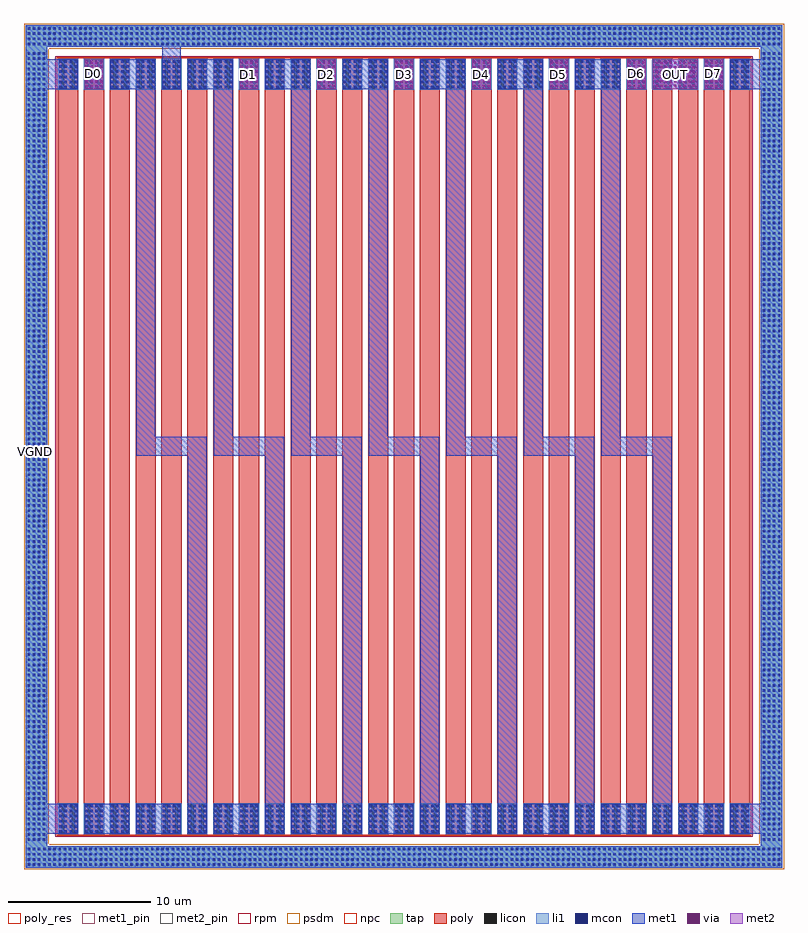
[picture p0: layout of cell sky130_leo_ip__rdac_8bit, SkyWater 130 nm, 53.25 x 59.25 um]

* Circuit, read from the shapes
.subckt sky130_leo_ip__rdac_8bit D0 D1 D2 D3 D4 D5 D6 D7 OUT VGND
XR1 VGND VGND VGND sky130_fd_pr__res_high_po w=1.41 l=50 m=2
XR2 D0 n1 VGND sky130_fd_pr__res_high_po w=1.41 l=50
XR3 n2 n1 VGND sky130_fd_pr__res_high_po w=1.41 l=50
XR4 n2 n3 VGND sky130_fd_pr__res_high_po w=1.41 l=50
XR5 VGND n3 VGND sky130_fd_pr__res_high_po w=1.41 l=50
XR6 n4 n2 VGND sky130_fd_pr__res_high_po w=1.41 l=50
XR7 n4 n5 VGND sky130_fd_pr__res_high_po w=1.41 l=50
XR8 D1 n5 VGND sky130_fd_pr__res_high_po w=1.41 l=50
XR9 n6 n4 VGND sky130_fd_pr__res_high_po w=1.41 l=50
XR10 n6 n7 VGND sky130_fd_pr__res_high_po w=1.41 l=50
XR11 D2 n7 VGND sky130_fd_pr__res_high_po w=1.41 l=50
XR12 n8 n6 VGND sky130_fd_pr__res_high_po w=1.41 l=50
XR13 n8 n9 VGND sky130_fd_pr__res_high_po w=1.41 l=50
XR14 D3 n9 VGND sky130_fd_pr__res_high_po w=1.41 l=50
XR15 n10 n8 VGND sky130_fd_pr__res_high_po w=1.41 l=50
XR16 n10 n11 VGND sky130_fd_pr__res_high_po w=1.41 l=50
XR17 D4 n11 VGND sky130_fd_pr__res_high_po w=1.41 l=50
XR18 n12 n10 VGND sky130_fd_pr__res_high_po w=1.41 l=50
XR19 n12 n13 VGND sky130_fd_pr__res_high_po w=1.41 l=50
XR20 D5 n13 VGND sky130_fd_pr__res_high_po w=1.41 l=50
XR21 n14 n12 VGND sky130_fd_pr__res_high_po w=1.41 l=50
XR22 n14 n15 VGND sky130_fd_pr__res_high_po w=1.41 l=50
XR23 D6 n15 VGND sky130_fd_pr__res_high_po w=1.41 l=50
XR24 OUT n14 VGND sky130_fd_pr__res_high_po w=1.41 l=50
XR25 OUT n16 VGND sky130_fd_pr__res_high_po w=1.41 l=50
XR26 D7 n16 VGND sky130_fd_pr__res_high_po w=1.41 l=50
.ends

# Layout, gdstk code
import gdstk
lib = gdstk.Library(unit=1e-6, precision=1e-09)
def R(c, l, rs):  # rectangles x0, y0, x1, y1
    for r in rs: c.add(gdstk.rectangle(r[:2], r[2:], *l))
def A(c, l, x, y, w, h, nx, ny, dx, dy):  # array of equal rectangles
    R(c, l, [(x+i*dx, y+j*dy, x+i*dx+w, y+j*dy+h) for i in range(nx) for j in range(ny)])
def P(c, l, *ps):  # polygons
    for p in ps: c.add(gdstk.Polygon(p, *l))
tap = (65, 44)
poly_res = (66, 13)
poly = (66, 20)
licon = (66, 44)
li1 = (67, 20)
mcon = (67, 44)
met1_pin = (68, 16)
met1 = (68, 20)
via = (68, 44)
met2_pin = (69, 16)
met2 = (69, 20)
rpm = (86, 20)
psdm = (94, 20)
npc = (95, 20)

res_poly = lib.new_cell('res_poly')
R(res_poly, poly_res, [(-0.705,-25.06,0.705,25.06)])
R(res_poly, poly, [(-0.705,-27.16,0.705,27.16)])
R(res_poly, licon, [(-0.45,-27.08,-0.26,-25.08), (0.26,-27.08,0.45,-25.08), (-0.45,25.08,-0.26,27.08), (0.26,25.08,0.45,27.08)])
R(res_poly, li1, [(-0.705,-27.16,0.705,-25), (-0.705,25,0.705,27.16)])
A(res_poly, mcon, -0.625, -27.06, 0.17, 0.17, 4, 6, 0.36, 0.36)
A(res_poly, mcon, -0.625, 25.095, 0.17, 0.17, 4, 6, 0.36, 0.36)
R(res_poly, met1, [(-0.655,-27.13,0.655,-25.025), (-0.655,25.025,0.655,27.13)])
R(res_poly, rpm, [(-0.905,-27.36,0.905,27.36)])
R(res_poly, psdm, [(-0.815,-27.27,0.815,27.27)])
R(res_poly, npc, [(-0.8,-27.255,0.8,27.255)])

guard_ring_gen = lib.new_cell('guard_ring_gen')
P(guard_ring_gen, tap, [(-1.5,-1.5),(-1.5,56),(0,56),(0,0),(50,0),(50,56),(-1.5,56),(-1.5,57.5),(51.5,57.5),(51.5,-1.5)])
A(guard_ring_gen, licon, -1.365, -1.375, 0.17, 0.17, 147, 4, 0.36, 0.36)
A(guard_ring_gen, licon, -1.375, 0.375, 0.17, 0.17, 4, 154, 0.36, 0.36)
A(guard_ring_gen, licon, 50.125, 0.375, 0.17, 0.17, 4, 154, 0.36, 0.36)
A(guard_ring_gen, licon, -1.365, 56.125, 0.17, 0.17, 147, 4, 0.36, 0.36)
P(guard_ring_gen, li1, [(-1.5,-1.5),(-1.5,56),(0,56),(0,0),(50,0),(50,56),(-1.5,56),(-1.5,57.5),(51.5,57.5),(51.5,-1.5)])
A(guard_ring_gen, mcon, -1.365, -1.375, 0.17, 0.17, 147, 4, 0.36, 0.36)
A(guard_ring_gen, mcon, -1.375, 0.375, 0.17, 0.17, 4, 154, 0.36, 0.36)
A(guard_ring_gen, mcon, 50.125, 0.375, 0.17, 0.17, 4, 154, 0.36, 0.36)
A(guard_ring_gen, mcon, -1.365, 56.125, 0.17, 0.17, 147, 4, 0.36, 0.36)
P(guard_ring_gen, met1, [(-1.5,-1.5),(-1.5,56),(0,56),(0,0),(50,0),(50,56),(-1.5,56),(-1.5,57.5),(51.5,57.5),(51.5,-1.5)])
P(guard_ring_gen, psdm, [(-1.625,-1.625),(-1.625,55.875),(0.125,55.875),(0.125,0.125),(49.875,0.125),(49.875,55.875),(-1.625,55.875),(-1.625,57.625),(51.625,57.625),(51.625,-1.625)])

vias_gen_1 = lib.new_cell('vias_gen$1')
R(vias_gen_1, met1, [(0,0,1.31,2.105)])
A(vias_gen_1, via, 0.1, 0.18, 0.15, 0.15, 4, 6, 0.32, 0.32)
R(vias_gen_1, met2, [(0,0,1.31,2.105)])

vias_gen = lib.new_cell('vias_gen')
R(vias_gen, met1, [(0,0,3.12,2.105)])
A(vias_gen, via, 0.205, 0.18, 0.15, 0.15, 9, 6, 0.32, 0.32)
R(vias_gen, met2, [(0,0,3.12,2.105)])

sky130_leo_ip__rdac_8bit = lib.new_cell('sky130_leo_ip__rdac_8bit')
R(sky130_leo_ip__rdac_8bit, met1_pin, [(0.125,0.125,53.125,1.625), (0.125,1.625,1.625,57.625), (51.625,1.625,53.125,57.625), (0.125,57.625,53.125,59.125)])
A(sky130_leo_ip__rdac_8bit, met1, 7.87, 2.495, 3.12, 2.105, 8, 1, 5.43, 0)
A(sky130_leo_ip__rdac_8bit, met1, 11.49, 4.6, 1.31, 24.895, 7, 1, 5.43, 0)
A(sky130_leo_ip__rdac_8bit, met1, 7.865, 28.965, 4.935, 1.345, 7, 1, 5.43, 0)
A(sky130_leo_ip__rdac_8bit, met1, 7.87, 29.755, 1.31, 24.895, 7, 1, 5.43, 0)
A(sky130_leo_ip__rdac_8bit, met1, 6.06, 54.65, 3.12, 2.105, 8, 1, 5.43, 0)
R(sky130_leo_ip__rdac_8bit, met1, [(0.625,2.495,2.44,4.6), (4.25,2.495,7.37,4.6), (50.81,2.495,52.625,4.6), (0.625,54.65,2.44,56.755), (50.81,54.65,52.625,56.755), (9.68,56.755,10.99,59.125)])
A(sky130_leo_ip__rdac_8bit, met2_pin, 15.11, 54.65, 1.31, 2.105, 7, 1, 5.43, 0)
R(sky130_leo_ip__rdac_8bit, met2_pin, [(4.25,54.65,5.56,56.755), (44.07,54.65,47.19,56.755)])
R(sky130_leo_ip__rdac_8bit, psdm, [(2.28,2.355,50.97,56.895)])
R(sky130_leo_ip__rdac_8bit, npc, [(2.295,2.37,50.955,56.88)])
sky130_leo_ip__rdac_8bit.add(gdstk.Reference(res_poly, (3.095,29.625)))
sky130_leo_ip__rdac_8bit.add(gdstk.Reference(res_poly, (4.905,29.625)))
sky130_leo_ip__rdac_8bit.add(gdstk.Reference(res_poly, (6.715,29.625)))
sky130_leo_ip__rdac_8bit.add(gdstk.Reference(res_poly, (8.525,29.625)))
sky130_leo_ip__rdac_8bit.add(gdstk.Reference(res_poly, (10.335,29.625)))
sky130_leo_ip__rdac_8bit.add(gdstk.Reference(res_poly, (12.145,29.625)))
sky130_leo_ip__rdac_8bit.add(gdstk.Reference(res_poly, (13.955,29.625)))
sky130_leo_ip__rdac_8bit.add(gdstk.Reference(res_poly, (15.765,29.625)))
sky130_leo_ip__rdac_8bit.add(gdstk.Reference(res_poly, (17.575,29.625)))
sky130_leo_ip__rdac_8bit.add(gdstk.Reference(res_poly, (19.385,29.625)))
sky130_leo_ip__rdac_8bit.add(gdstk.Reference(res_poly, (21.195,29.625)))
sky130_leo_ip__rdac_8bit.add(gdstk.Reference(res_poly, (23.005,29.625)))
sky130_leo_ip__rdac_8bit.add(gdstk.Reference(res_poly, (24.815,29.625)))
sky130_leo_ip__rdac_8bit.add(gdstk.Reference(res_poly, (26.625,29.625)))
sky130_leo_ip__rdac_8bit.add(gdstk.Reference(res_poly, (28.435,29.625)))
sky130_leo_ip__rdac_8bit.add(gdstk.Reference(res_poly, (30.245,29.625)))
sky130_leo_ip__rdac_8bit.add(gdstk.Reference(res_poly, (32.055,29.625)))
sky130_leo_ip__rdac_8bit.add(gdstk.Reference(res_poly, (33.865,29.625)))
sky130_leo_ip__rdac_8bit.add(gdstk.Reference(res_poly, (35.675,29.625)))
sky130_leo_ip__rdac_8bit.add(gdstk.Reference(res_poly, (37.485,29.625)))
sky130_leo_ip__rdac_8bit.add(gdstk.Reference(res_poly, (39.295,29.625)))
sky130_leo_ip__rdac_8bit.add(gdstk.Reference(res_poly, (41.105,29.625)))
sky130_leo_ip__rdac_8bit.add(gdstk.Reference(res_poly, (42.915,29.625)))
sky130_leo_ip__rdac_8bit.add(gdstk.Reference(res_poly, (44.725,29.625)))
sky130_leo_ip__rdac_8bit.add(gdstk.Reference(res_poly, (46.535,29.625)))
sky130_leo_ip__rdac_8bit.add(gdstk.Reference(res_poly, (48.345,29.625)))
sky130_leo_ip__rdac_8bit.add(gdstk.Reference(res_poly, (50.155,29.625)))
sky130_leo_ip__rdac_8bit.add(gdstk.Reference(guard_ring_gen, (1.625,1.625)))
sky130_leo_ip__rdac_8bit.add(gdstk.Reference(vias_gen_1, (4.25,54.65)))
sky130_leo_ip__rdac_8bit.add(gdstk.Reference(vias_gen_1, (15.11,54.65)))
sky130_leo_ip__rdac_8bit.add(gdstk.Reference(vias_gen_1, (20.54,54.65)))
sky130_leo_ip__rdac_8bit.add(gdstk.Reference(vias_gen_1, (25.97,54.65)))
sky130_leo_ip__rdac_8bit.add(gdstk.Reference(vias_gen_1, (31.4,54.65)))
sky130_leo_ip__rdac_8bit.add(gdstk.Reference(vias_gen_1, (36.83,54.65)))
sky130_leo_ip__rdac_8bit.add(gdstk.Reference(vias_gen_1, (42.26,54.65)))
sky130_leo_ip__rdac_8bit.add(gdstk.Reference(vias_gen_1, (47.69,54.65)))
sky130_leo_ip__rdac_8bit.add(gdstk.Reference(vias_gen, (44.07,54.65)))
sky130_leo_ip__rdac_8bit.add(gdstk.Label('VGND', (0.83,29.28), layer=68, texttype=5))
sky130_leo_ip__rdac_8bit.add(gdstk.Label('D0', (4.89,55.73), layer=69, texttype=5))
sky130_leo_ip__rdac_8bit.add(gdstk.Label('D1', (15.755,55.72), layer=69, texttype=5))
sky130_leo_ip__rdac_8bit.add(gdstk.Label('D2', (21.21,55.705), layer=69, texttype=5))
sky130_leo_ip__rdac_8bit.add(gdstk.Label('D3', (26.63,55.685), layer=69, texttype=5))
sky130_leo_ip__rdac_8bit.add(gdstk.Label('D4', (32.055,55.72), layer=69, texttype=5))
sky130_leo_ip__rdac_8bit.add(gdstk.Label('D5', (37.475,55.7), layer=69, texttype=5))
sky130_leo_ip__rdac_8bit.add(gdstk.Label('D6', (42.91,55.725), layer=69, texttype=5))
sky130_leo_ip__rdac_8bit.add(gdstk.Label('D7', (48.34,55.73), layer=69, texttype=5))
sky130_leo_ip__rdac_8bit.add(gdstk.Label('OUT', (45.635,55.705), layer=69, texttype=5))

lib.write_gds('sky130_leo_ip__rdac_8bit.gds')
